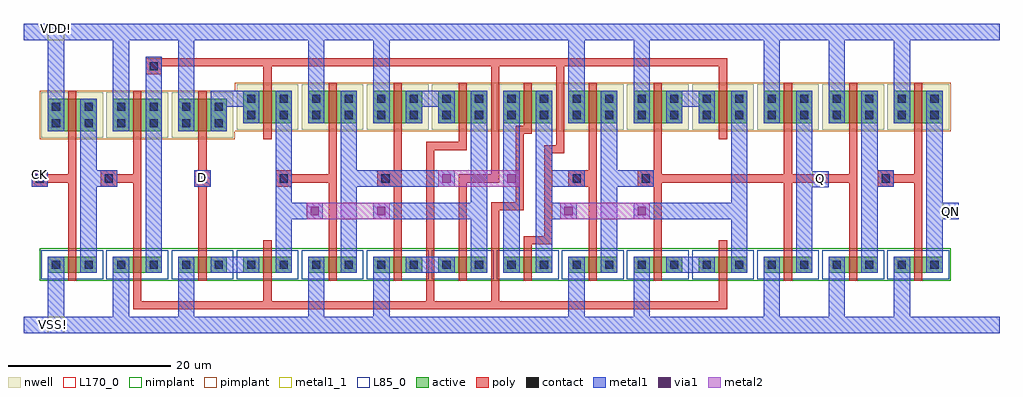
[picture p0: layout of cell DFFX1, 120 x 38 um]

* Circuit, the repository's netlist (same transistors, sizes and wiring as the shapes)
* +++++++++++++++++++++++++++++++++++++++++++++++++++++++++ *
* CDL Netlist:                                              *
*                                                           *
* Cell Name  : DFFX1                                        *
* Netlisted  : Fri Dec 17 07:31:05 2021                     *
* PVS Version: 16.15-s010 Fri Jun 28 22:24:07 PDT 2019      *
* +++++++++++++++++++++++++++++++++++++++++++++++++++++++++ *
*.LDD
*.DEVTMPLT 0 MN(nmos3) _nmos1v _soi_nd(D) poly_conn(G) _soi_nsb(S) _soi_nsb(B)
*.DEVTMPLT 1 MP(pmos3) _pmos1v _soi_pd(D) poly_conn(G) _soi_psb(S) _soi_psb(B)

* +++++++++++++++++++++++++++++++++++++++++++++++++++++++++ *
* Sub cell: nmos3_CDNS_3                                    *
* +++++++++++++++++++++++++++++++++++++++++++++++++++++++++ *
.subckt nmos3_CDNS_3 2 3 4
** N=4 EP=3 FDC=1
M0 2 3 4 4 nmos3 L=1e-06 W=2e-06 AD=5e-12 AS=0 PD=9e-06 PS=0 fw=2e-06 sa=2e-06 sb=2e-06 $X=7000 $Y=2000 $dt=0
.ends nmos3_CDNS_3

* +++++++++++++++++++++++++++++++++++++++++++++++++++++++++ *
* Sub cell: pmos3_CDNS_4                                    *
* +++++++++++++++++++++++++++++++++++++++++++++++++++++++++ *
.subckt pmos3_CDNS_4 2 3 4
** N=5 EP=3 FDC=1
M0 2 4 3 3 pmos3 L=1e-06 W=4e-06 AD=1e-11 AS=0 PD=1.3e-05 PS=0 fw=4e-06 sa=2e-06 sb=2e-06 $X=7000 $Y=2000 $dt=1
.ends pmos3_CDNS_4

* +++++++++++++++++++++++++++++++++++++++++++++++++++++++++ *
* Sub cell: DFFX1                                           *
* +++++++++++++++++++++++++++++++++++++++++++++++++++++++++ *
.subckt DFFX1 CK D Q QN VDD! VSS!
** N=21 EP=6 FDC=28
X15 2 CK VSS! nmos3_CDNS_3 $T=20000 10800 1 180 $X=4000 $Y=10800
X16 3 2 VSS! nmos3_CDNS_3 $T=36000 10800 1 180 $X=20000 $Y=10800
X17 12 D VSS! nmos3_CDNS_3 $T=52000 10800 1 180 $X=36000 $Y=10800
X18 5 2 12 nmos3_CDNS_3 $T=68000 10800 1 180 $X=52000 $Y=10800
X19 6 5 VSS! nmos3_CDNS_3 $T=84000 10800 1 180 $X=68000 $Y=10800
X20 13 6 VSS! nmos3_CDNS_3 $T=100000 10800 1 180 $X=84000 $Y=10800
X21 5 3 13 nmos3_CDNS_3 $T=116000 10800 1 180 $X=100000 $Y=10800
X22 7 3 6 nmos3_CDNS_3 $T=132000 10800 1 180 $X=116000 $Y=10800
X23 8 7 VSS! nmos3_CDNS_3 $T=148000 10800 1 180 $X=132000 $Y=10800
X24 14 8 VSS! nmos3_CDNS_3 $T=164000 10800 1 180 $X=148000 $Y=10800
X25 7 2 14 nmos3_CDNS_3 $T=180000 10800 1 180 $X=164000 $Y=10800
X26 Q 8 VSS! nmos3_CDNS_3 $T=196000 10800 1 180 $X=180000 $Y=10800
X27 9 8 VSS! nmos3_CDNS_3 $T=212000 10800 1 180 $X=196000 $Y=10800
X28 QN 9 VSS! nmos3_CDNS_3 $T=228000 10800 1 180 $X=212000 $Y=10800
X29 2 VDD! CK pmos3_CDNS_4 $T=20000 57600 0 180 $X=4000 $Y=43600
X30 3 VDD! 2 pmos3_CDNS_4 $T=36000 57600 0 180 $X=20000 $Y=43600
X31 18 VDD! D pmos3_CDNS_4 $T=52000 57600 0 180 $X=36000 $Y=43600
X32 5 18 3 pmos3_CDNS_4 $T=68000 59600 0 180 $X=52000 $Y=45600
X33 6 VDD! 5 pmos3_CDNS_4 $T=84000 59600 0 180 $X=68000 $Y=45600
X34 19 VDD! 6 pmos3_CDNS_4 $T=100000 59600 0 180 $X=84000 $Y=45600
X35 5 19 2 pmos3_CDNS_4 $T=116000 59600 0 180 $X=100000 $Y=45600
X36 8 VDD! 7 pmos3_CDNS_4 $T=148000 59600 0 180 $X=132000 $Y=45600
X37 20 VDD! 8 pmos3_CDNS_4 $T=164000 59600 0 180 $X=148000 $Y=45600
X38 7 20 3 pmos3_CDNS_4 $T=180000 59600 0 180 $X=164000 $Y=45600
X39 Q VDD! 8 pmos3_CDNS_4 $T=196000 59600 0 180 $X=180000 $Y=45600
X40 9 VDD! 8 pmos3_CDNS_4 $T=212000 59600 0 180 $X=196000 $Y=45600
X41 QN VDD! 9 pmos3_CDNS_4 $T=228000 59600 0 180 $X=212000 $Y=45600
M0 7 2 6 6 pmos3 L=1e-06 W=4e-06 AD=1e-11 AS=0 PD=1.3e-05 PS=0 fw=4e-06 sa=2e-06 sb=2e-06 $X=123000 $Y=49600 $dt=1
.ends DFFX1

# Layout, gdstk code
from math import pi, radians
import gdstk
lib = gdstk.Library(unit=1e-6, precision=5e-10)
def R(c, l, rs):  # rectangles x0, y0, x1, y1
    for r in rs: c.add(gdstk.rectangle(r[:2], r[2:], *l))
active = (1, 0)
nwell = (2, 0)
poly = (3, 0)
nimplant = (4, 0)
pimplant = (5, 0)
contact = (6, 0)
metal1 = (7, 0)
metal1_1 = (7, 1)
via1 = (8, 0)
metal2 = (9, 0)
L85_0 = (85, 0)
L170_0 = (170, 0)

nmos3_cdns_3 = lib.new_cell('nmos3_CDNS_3')
R(nmos3_cdns_3, active, [(1,1,7,3)])
R(nmos3_cdns_3, poly, [(3.5,0,4.5,5), (3.6,3.5,4.4,3.9)])
R(nmos3_cdns_3, nimplant, [(0,0,8,4)])
R(nmos3_cdns_3, contact, [(1.5,1.5,2.5,2.5), (5.5,1.5,6.5,2.5), (5.5,1.5,6.5,2.5)])
R(nmos3_cdns_3, metal1, [(1,1,3,3), (5,1,7,3), (1.3,1.3,2.7,2.7), (5.3,1.3,6.7,2.7)])
R(nmos3_cdns_3, L85_0, [(0.2,0.2,7.8,3.8)])
R(nmos3_cdns_3, L170_0, [(4.5,1,7,3)])

pmos3_cdns_4 = lib.new_cell('pmos3_CDNS_4')
R(pmos3_cdns_4, active, [(1,1,7,5)])
R(pmos3_cdns_4, nwell, [(0.2,0.2,7.8,5.8)])
R(pmos3_cdns_4, poly, [(3.5,0,4.5,7), (3.6,5.6,4.4,5.9)])
R(pmos3_cdns_4, pimplant, [(0,0,8,6)])
R(pmos3_cdns_4, contact, [(1.5,1.5,2.5,2.5), (5.5,1.5,6.5,2.5), (5.5,1.5,6.5,2.5), (1.5,3.5,2.5,4.5), (5.5,3.5,6.5,4.5)])
R(pmos3_cdns_4, metal1, [(1,1,3,5), (5,1,7,5), (1.3,1.3,2.7,2.7), (5.3,1.3,6.7,2.7)])
R(pmos3_cdns_4, L170_0, [(4.5,1,7,5)])

m1_po_cdns_1 = lib.new_cell('M1_PO_CDNS_1')
R(m1_po_cdns_1, poly, [(-1,-1,1,1)])
R(m1_po_cdns_1, contact, [(-0.5,-0.5,0.5,0.5)])
R(m1_po_cdns_1, metal1, [(-1,-1,1,1)])

m2_m1_cdns_2 = lib.new_cell('M2_M1_CDNS_2')
R(m2_m1_cdns_2, metal1, [(-1,-1,1,1)])
R(m2_m1_cdns_2, via1, [(-0.5,-0.5,0.5,0.5)])
R(m2_m1_cdns_2, metal2, [(-1,-1,1,1)])

dffx1 = lib.new_cell('DFFX1')
R(dffx1, active, [(59,24.8,65,28.8)])
R(dffx1, nwell, [(58.2,24,65.8,29.6)])
R(dffx1, poly, [(68.8,17,69.8,19), (61.5,23.5,62.5,29.8), (61.6,23.9,62.4,24.2)])
R(dffx1, pimplant, [(58,23.8,66,29.8)])
R(dffx1, contact, [(59.5,25.3,60.5,26.3), (63.5,25.3,64.5,26.3), (59.5,27.3,60.5,28.3), (59.5,27.3,60.5,28.3), (63.5,27.3,64.5,28.3)])
R(dffx1, metal1, [(23,6.4,29,8.4), (111,13,115,15), (95,16.9,99,18.9), (1,17,3,19), (21,17,23,19), (59,24.8,61,28.8), (63,24.8,65,28.8), (59.3,27.1,60.7,28.5), (63.3,27.1,64.7,28.5)])
R(dffx1, metal1_1, [(3,-1,5,1), (113,13,115,15), (97,16.9,99,18.9), (1,17,3,19), (21,17,23,19), (3,35,5,37)])
R(dffx1, L170_0, [(59,24.8,61.5,28.8)])
dffx1.add(gdstk.FlexPath([(14,9.9),(14,18)], 1, ends=(0, 0.5), simple_path=True, layer=3, datatype=0))  # poly
dffx1.add(gdstk.FlexPath([(110,24.2),(110,18)], 1, ends=(0, 0.5), simple_path=True, layer=3, datatype=0))  # poly
dffx1.add(gdstk.FlexPath([(110,18),(106,18)], 1, ends=(0.5, 0), simple_path=True, layer=3, datatype=0))  # poly
dffx1.add(gdstk.FlexPath([(110,18),(110,8.8)], 1, ends=(0.5, 0), simple_path=True, layer=3, datatype=0))  # poly
dffx1.add(gdstk.FlexPath([(102,8.9),(102,18)], 1, ends=(0, 0.5), simple_path=True, layer=3, datatype=0))  # poly
dffx1.add(gdstk.FlexPath([(102,18),(94,18)], 1, ends="extended", simple_path=True, layer=3, datatype=0))  # poly
dffx1.add(gdstk.FlexPath([(102,18),(102,24.4)], 1, ends=(0.5, 0), simple_path=True, layer=3, datatype=0))  # poly
dffx1.add(gdstk.FlexPath([(78,8.9),(78,18)], 1, ends=(0, 0.5), simple_path=True, layer=3, datatype=0))  # poly
dffx1.add(gdstk.FlexPath([(94,18),(78,18)], 1, ends="extended", simple_path=True, layer=3, datatype=0))  # poly
dffx1.add(gdstk.FlexPath([(94,18),(94,24.2)], 1, ends=(0.5, 0), simple_path=True, layer=3, datatype=0))  # poly
dffx1.add(gdstk.FlexPath([(94,8.9),(94,18)], 1, ends=(0, 0.5), simple_path=True, layer=3, datatype=0))  # poly
dffx1.add(gdstk.FlexPath([(86,32.3),(86,23.8)], 1, ends=(0.5, 0), simple_path=True, layer=3, datatype=0))  # poly
dffx1.add(gdstk.FlexPath([(86,2.4),(86,9.6)], 1, ends=(0.5, 0), simple_path=True, layer=3, datatype=0))  # poly
dffx1.add(gdstk.FlexPath([(78,18),(78,24.7)], 1, ends=(0.5, 0), simple_path=True, layer=3, datatype=0))  # poly
dffx1.add(gdstk.FlexPath([(64.5,10.4),(61.5,10.4)], 1, ends=(0.5, 0), simple_path=True, layer=3, datatype=0))  # poly
dffx1.add(gdstk.FlexPath([(70,8.9),(70,24.2)], 1, ends="flush", simple_path=True, layer=3, datatype=0))  # poly
dffx1.add(gdstk.FlexPath([(58,32.3),(66,32.3)], 1, ends="extended", simple_path=True, layer=3, datatype=0))  # poly
dffx1.add(gdstk.FlexPath([(64.5,21.6),(64.5,10.4)], 1, ends="extended", simple_path=True, layer=3, datatype=0))  # poly
dffx1.add(gdstk.FlexPath([(66,32),(66,21.6)], 1, ends="extended", simple_path=True, layer=3, datatype=0))  # poly
dffx1.add(gdstk.FlexPath([(66,21.6),(64.5,21.6)], 1, ends="extended", simple_path=True, layer=3, datatype=0))  # poly
dffx1.add(gdstk.FlexPath([(61,14.6),(61,24.5)], 1, ends=(0.5, 0), simple_path=True, layer=3, datatype=0))  # poly
dffx1.add(gdstk.FlexPath([(58,14.6),(61,14.6)], 1, ends="extended", simple_path=True, layer=3, datatype=0))  # poly
dffx1.add(gdstk.FlexPath([(58,2.4),(58,14.6)], 1, ends="extended", simple_path=True, layer=3, datatype=0))  # poly
dffx1.add(gdstk.FlexPath([(58,2.4),(86,2.4)], 1, ends="extended", simple_path=True, layer=3, datatype=0))  # poly
dffx1.add(gdstk.FlexPath([(30,2.4),(50,2.4)], 1, ends="extended", simple_path=True, layer=3, datatype=0))  # poly
dffx1.add(gdstk.FlexPath([(50,22),(50,2.4)], 1, ends="extended", simple_path=True, layer=3, datatype=0))  # poly
dffx1.add(gdstk.FlexPath([(14,18),(10.5,18)], 1, ends=(0.5, 0), simple_path=True, layer=3, datatype=0))  # poly
dffx1.add(gdstk.FlexPath([(54,18),(58,18)], 1, ends="extended", simple_path=True, layer=3, datatype=0))  # poly
dffx1.add(gdstk.FlexPath([(54,8.6),(54,18)], 1, ends=(0, 0.5), simple_path=True, layer=3, datatype=0))  # poly
dffx1.add(gdstk.FlexPath([(58,18),(58,32.5)], 1, ends=(0.5, 0), simple_path=True, layer=3, datatype=0))  # poly
dffx1.add(gdstk.FlexPath([(54,24.6),(54,22)], 1, ends=(0, 0.5), simple_path=True, layer=3, datatype=0))  # poly
dffx1.add(gdstk.FlexPath([(54,22),(50,22)], 1, ends="extended", simple_path=True, layer=3, datatype=0))  # poly
dffx1.add(gdstk.FlexPath([(50,2.4),(58,2.4)], 1, ends="extended", simple_path=True, layer=3, datatype=0))  # poly
dffx1.add(gdstk.FlexPath([(66,32.3),(86,32.3)], 1, ends="extended", simple_path=True, layer=3, datatype=0))  # poly
dffx1.add(gdstk.FlexPath([(30,32.3),(58,32.3)], 1, ends="extended", simple_path=True, layer=3, datatype=0))  # poly
dffx1.add(gdstk.FlexPath([(46,8.9),(46,24.4)], 1, ends="flush", simple_path=True, layer=3, datatype=0))  # poly
dffx1.add(gdstk.FlexPath([(38,18),(32.1,18)], 1, ends=(0.5, 0), simple_path=True, layer=3, datatype=0))  # poly
dffx1.add(gdstk.FlexPath([(38,18),(38,24.5)], 1, ends=(0.5, 0), simple_path=True, layer=3, datatype=0))  # poly
dffx1.add(gdstk.FlexPath([(38,8.9),(38,18)], 1, ends=(0, 0.5), simple_path=True, layer=3, datatype=0))  # poly
dffx1.add(gdstk.FlexPath([(30,23.4),(30,32)], 1, ends=(0, 0.5), simple_path=True, layer=3, datatype=0))  # poly
dffx1.add(gdstk.FlexPath([(30,32.3),(16,32.3)], 1, ends=(0.5, 0), simple_path=True, layer=3, datatype=0))  # poly
dffx1.add(gdstk.FlexPath([(30,2.4),(30,9.6)], 1, ends=(0.5, 0), simple_path=True, layer=3, datatype=0))  # poly
dffx1.add(gdstk.FlexPath([(14,2.4),(30,2.4)], 1, ends="extended", simple_path=True, layer=3, datatype=0))  # poly
dffx1.add(gdstk.FlexPath([(14,9.3),(14,2.4)], 1, ends=(0, 0.5), simple_path=True, layer=3, datatype=0))  # poly
dffx1.add(gdstk.FlexPath([(22,27.2),(22,8.5)], 1, ends="flush", simple_path=True, layer=3, datatype=0))  # poly
dffx1.add(gdstk.FlexPath([(6,18),(2,18)], 1, ends=(0.5, 0), simple_path=True, layer=3, datatype=0))  # poly
dffx1.add(gdstk.FlexPath([(6,18),(6,27.8)], 1, ends=(0.5, 0), simple_path=True, layer=3, datatype=0))  # poly
dffx1.add(gdstk.FlexPath([(14,18),(14,27.9)], 1, ends=(0.5, 0), simple_path=True, layer=3, datatype=0))  # poly
dffx1.add(gdstk.FlexPath([(6,9.3),(6,18)], 1, ends=(0, 0.5), simple_path=True, layer=3, datatype=0))  # poly
dffx1.add(gdstk.FlexPath([(32,27.1),(32,14)], 2, ends=(0, 1), simple_path=True, layer=7, datatype=0))  # metal1
dffx1.add(gdstk.FlexPath([(32,14),(35.8,14)], 2, ends=(1, 0), simple_path=True, layer=7, datatype=0))  # metal1
dffx1.add(gdstk.FlexPath([(64,28.5),(64,14)], 2, ends=(0, 1), simple_path=True, layer=7, datatype=0))  # metal1
dffx1.add(gdstk.FlexPath([(64,14),(68,14)], 2, ends=(1, 0), simple_path=True, layer=7, datatype=0))  # metal1
dffx1.add(gdstk.FlexPath([(88,14),(75,14)], 2, ends=(1, 0), simple_path=True, layer=7, datatype=0))  # metal1
dffx1.add(gdstk.FlexPath([(88,14),(88,6.7)], 2, ends=(1, 0), simple_path=True, layer=7, datatype=0))  # metal1
dffx1.add(gdstk.FlexPath([(56,14),(44,14)], 2, ends=(1, 0), simple_path=True, layer=7, datatype=0))  # metal1
dffx1.add(gdstk.FlexPath([(56,6.7),(56,14)], 2, ends=(0, 1), simple_path=True, layer=7, datatype=0))  # metal1
dffx1.add(gdstk.FlexPath([(112,28.5),(112,6.7)], 2, ends="flush", simple_path=True, layer=7, datatype=0))  # metal1
dffx1.add(gdstk.FlexPath([(100,36),(108,36)], 2, ends="extended", simple_path=True, layer=7, datatype=0))  # metal1
dffx1.add(gdstk.FlexPath([(108,27.1),(108,36)], 2, ends=(0, 1), simple_path=True, layer=7, datatype=0))  # metal1
dffx1.add(gdstk.FlexPath([(120,0),(108,0)], 2, ends=(0, 1), simple_path=True, layer=7, datatype=0))  # metal1
dffx1.add(gdstk.FlexPath([(108,8.1),(108,0)], 2, ends=(0, 1), simple_path=True, layer=7, datatype=0))  # metal1
dffx1.add(gdstk.FlexPath([(104,6.7),(104,28.5)], 2, ends="flush", simple_path=True, layer=7, datatype=0))  # metal1
dffx1.add(gdstk.FlexPath([(108,0),(100,0)], 2, ends="extended", simple_path=True, layer=7, datatype=0))  # metal1
dffx1.add(gdstk.FlexPath([(100,8.1),(100,0)], 2, ends=(0, 1), simple_path=True, layer=7, datatype=0))  # metal1
dffx1.add(gdstk.FlexPath([(92,36),(100,36)], 2, ends="extended", simple_path=True, layer=7, datatype=0))  # metal1
dffx1.add(gdstk.FlexPath([(100,27.1),(100,36)], 2, ends=(0, 1), simple_path=True, layer=7, datatype=0))  # metal1
dffx1.add(gdstk.FlexPath([(96,6.7),(96,28.5)], 2, ends="flush", simple_path=True, layer=7, datatype=0))  # metal1
dffx1.add(gdstk.FlexPath([(88,28.5),(88,14)], 2, ends=(0, 1), simple_path=True, layer=7, datatype=0))  # metal1
dffx1.add(gdstk.FlexPath([(76,36),(92,36)], 2, ends="extended", simple_path=True, layer=7, datatype=0))  # metal1
dffx1.add(gdstk.FlexPath([(92,27.1),(92,36)], 2, ends=(0, 1), simple_path=True, layer=7, datatype=0))  # metal1
dffx1.add(gdstk.FlexPath([(100,0),(92,0)], 2, ends="extended", simple_path=True, layer=7, datatype=0))  # metal1
dffx1.add(gdstk.FlexPath([(92,8.1),(92,0)], 2, ends=(0, 1), simple_path=True, layer=7, datatype=0))  # metal1
dffx1.add(gdstk.FlexPath([(79.3,7.4),(84.7,7.4)], 2, ends="flush", simple_path=True, layer=7, datatype=0))  # metal1
dffx1.add(gdstk.FlexPath([(92,0),(76,0)], 2, ends="extended", simple_path=True, layer=7, datatype=0))  # metal1
dffx1.add(gdstk.FlexPath([(76,8.1),(76,0)], 2, ends=(0, 1), simple_path=True, layer=7, datatype=0))  # metal1
dffx1.add(gdstk.FlexPath([(72,18),(76.5,18)], 2, ends=(1, 0), simple_path=True, layer=7, datatype=0))  # metal1
dffx1.add(gdstk.FlexPath([(72,18),(72,6.5)], 2, ends=(1, 0), simple_path=True, layer=7, datatype=0))  # metal1
dffx1.add(gdstk.FlexPath([(79.3,27.8),(84.7,27.8)], 2, ends="flush", simple_path=True, layer=7, datatype=0))  # metal1
dffx1.add(gdstk.FlexPath([(68,36),(76,36)], 2, ends="extended", simple_path=True, layer=7, datatype=0))  # metal1
dffx1.add(gdstk.FlexPath([(64.5,18),(68,18)], 2, ends=(1, 0), simple_path=True, layer=7, datatype=0))  # metal1
dffx1.add(gdstk.FlexPath([(76,27.1),(76,36)], 2, ends=(0, 1), simple_path=True, layer=7, datatype=0))  # metal1
dffx1.add(gdstk.FlexPath([(72,28.5),(72,18)], 2, ends=(0, 1), simple_path=True, layer=7, datatype=0))  # metal1
dffx1.add(gdstk.FlexPath([(44,36),(68,36)], 2, ends="extended", simple_path=True, layer=7, datatype=0))  # metal1
dffx1.add(gdstk.FlexPath([(68,27.1),(68,36)], 2, ends=(0, 1), simple_path=True, layer=7, datatype=0))  # metal1
dffx1.add(gdstk.FlexPath([(76,0),(68,0)], 2, ends="extended", simple_path=True, layer=7, datatype=0))  # metal1
dffx1.add(gdstk.FlexPath([(68,8.1),(68,0)], 2, ends=(0, 1), simple_path=True, layer=7, datatype=0))  # metal1
dffx1.add(gdstk.FlexPath([(64,14),(64,6.7)], 2, ends=(1, 0), simple_path=True, layer=7, datatype=0))  # metal1
dffx1.add(gdstk.FlexPath([(44.5,18),(53,18)], 2, ends="flush", simple_path=True, layer=7, datatype=0))  # metal1
dffx1.add(gdstk.FlexPath([(60,28.5),(60,6.7)], 2, ends="flush", simple_path=True, layer=7, datatype=0))  # metal1
dffx1.add(gdstk.FlexPath([(56,14),(56,28.5)], 2, ends=(1, 0), simple_path=True, layer=7, datatype=0))  # metal1
dffx1.add(gdstk.FlexPath([(47.3,7.4),(52.7,7.4)], 2, ends="flush", simple_path=True, layer=7, datatype=0))  # metal1
dffx1.add(gdstk.FlexPath([(47.3,27.8),(52.7,27.8)], 2, ends="flush", simple_path=True, layer=7, datatype=0))  # metal1
dffx1.add(gdstk.FlexPath([(40,6.7),(40,18)], 2, ends=(0, 1), simple_path=True, layer=7, datatype=0))  # metal1
dffx1.add(gdstk.FlexPath([(44.5,18),(40,18)], 2, ends=(0, 1), simple_path=True, layer=7, datatype=0))  # metal1
dffx1.add(gdstk.FlexPath([(68,0),(44,0)], 2, ends="extended", simple_path=True, layer=7, datatype=0))  # metal1
dffx1.add(gdstk.FlexPath([(44,8.1),(44,0)], 2, ends=(0, 1), simple_path=True, layer=7, datatype=0))  # metal1
dffx1.add(gdstk.FlexPath([(36,36),(44,36)], 2, ends="extended", simple_path=True, layer=7, datatype=0))  # metal1
dffx1.add(gdstk.FlexPath([(44,27.1),(44,36)], 2, ends=(0, 1), simple_path=True, layer=7, datatype=0))  # metal1
dffx1.add(gdstk.FlexPath([(40,18),(40,27.1)], 2, ends=(1, 0), simple_path=True, layer=7, datatype=0))  # metal1
dffx1.add(gdstk.FlexPath([(44,0),(36,0)], 2, ends="extended", simple_path=True, layer=7, datatype=0))  # metal1
dffx1.add(gdstk.FlexPath([(36,8.1),(36,0)], 2, ends=(0, 1), simple_path=True, layer=7, datatype=0))  # metal1
dffx1.add(gdstk.FlexPath([(20,36),(36,36)], 2, ends="extended", simple_path=True, layer=7, datatype=0))  # metal1
dffx1.add(gdstk.FlexPath([(36,27.1),(36,36)], 2, ends=(0, 1), simple_path=True, layer=7, datatype=0))  # metal1
dffx1.add(gdstk.FlexPath([(32,14),(32,6.7)], 2, ends=(1, 0), simple_path=True, layer=7, datatype=0))  # metal1
dffx1.add(gdstk.FlexPath([(23,27.8),(28.7,27.8)], 2, ends="flush", simple_path=True, layer=7, datatype=0))  # metal1
dffx1.add(gdstk.FlexPath([(108,36),(120,36)], 2, ends=(1, 0), simple_path=True, layer=7, datatype=0))  # metal1
dffx1.add(gdstk.FlexPath([(20,25.7),(20,36)], 2, ends=(0, 1), simple_path=True, layer=7, datatype=0))  # metal1
dffx1.add(gdstk.FlexPath([(20,0),(4,0)], 2, ends="extended", simple_path=True, layer=7, datatype=0))  # metal1
dffx1.add(gdstk.FlexPath([(20,8.1),(20,0)], 2, ends=(0, 1), simple_path=True, layer=7, datatype=0))  # metal1
dffx1.add(gdstk.FlexPath([(8,6.7),(8,18)], 2, ends=(0, 1), simple_path=True, layer=7, datatype=0))  # metal1
dffx1.add(gdstk.FlexPath([(10.7,18),(8,18)], 2, ends=(0, 1), simple_path=True, layer=7, datatype=0))  # metal1
dffx1.add(gdstk.FlexPath([(16,6.7),(16,33)], 2, ends="flush", simple_path=True, layer=7, datatype=0))  # metal1
dffx1.add(gdstk.FlexPath([(12,8.1),(12,0)], 2, ends=(0, 1), simple_path=True, layer=7, datatype=0))  # metal1
dffx1.add(gdstk.FlexPath([(4,36),(12,36)], 2, ends="extended", simple_path=True, layer=7, datatype=0))  # metal1
dffx1.add(gdstk.FlexPath([(12,25.7),(12,36)], 2, ends=(0, 1), simple_path=True, layer=7, datatype=0))  # metal1
dffx1.add(gdstk.FlexPath([(8,18),(8,27.1)], 2, ends=(1, 0), simple_path=True, layer=7, datatype=0))  # metal1
dffx1.add(gdstk.FlexPath([(36,0),(20,0)], 2, ends="extended", simple_path=True, layer=7, datatype=0))  # metal1
dffx1.add(gdstk.FlexPath([(4,8.1),(4,0)], 2, ends=(0, 1), simple_path=True, layer=7, datatype=0))  # metal1
dffx1.add(gdstk.FlexPath([(0,36),(4,36)], 2, ends=(0, 1), simple_path=True, layer=7, datatype=0))  # metal1
dffx1.add(gdstk.FlexPath([(4,25.7),(4,36)], 2, ends=(0, 1), simple_path=True, layer=7, datatype=0))  # metal1
dffx1.add(gdstk.FlexPath([(4,0),(0,0)], 2, ends=(1, 0), simple_path=True, layer=7, datatype=0))  # metal1
dffx1.add(gdstk.FlexPath([(12,36),(20,36)], 2, ends="extended", simple_path=True, layer=7, datatype=0))  # metal1
dffx1.add(gdstk.FlexPath([(76,14),(67.3,14)], 2, ends="flush", simple_path=True, layer=9, datatype=0))  # metal2
dffx1.add(gdstk.FlexPath([(43.9,14),(35.1,14)], 2, ends="flush", simple_path=True, layer=9, datatype=0))  # metal2
dffx1.add(gdstk.FlexPath([(52,18),(60,18)], 2, ends="flush", simple_path=True, layer=9, datatype=0))  # metal2
dffx1.add(gdstk.Reference(nmos3_cdns_3, (114,5.4), rotation=pi, x_reflection=True))
dffx1.add(gdstk.Reference(nmos3_cdns_3, (106,5.4), rotation=pi, x_reflection=True))
dffx1.add(gdstk.Reference(nmos3_cdns_3, (98,5.4), rotation=pi, x_reflection=True))
dffx1.add(gdstk.Reference(nmos3_cdns_3, (90,5.4), rotation=pi, x_reflection=True))
dffx1.add(gdstk.Reference(nmos3_cdns_3, (82,5.4), rotation=pi, x_reflection=True))
dffx1.add(gdstk.Reference(nmos3_cdns_3, (74,5.4), rotation=pi, x_reflection=True))
dffx1.add(gdstk.Reference(nmos3_cdns_3, (66,5.4), rotation=pi, x_reflection=True))
dffx1.add(gdstk.Reference(nmos3_cdns_3, (58,5.4), rotation=pi, x_reflection=True))
dffx1.add(gdstk.Reference(nmos3_cdns_3, (50,5.4), rotation=pi, x_reflection=True))
dffx1.add(gdstk.Reference(nmos3_cdns_3, (42,5.4), rotation=pi, x_reflection=True))
dffx1.add(gdstk.Reference(nmos3_cdns_3, (34,5.4), rotation=pi, x_reflection=True))
dffx1.add(gdstk.Reference(nmos3_cdns_3, (26,5.4), rotation=pi, x_reflection=True))
dffx1.add(gdstk.Reference(nmos3_cdns_3, (18,5.4), rotation=pi, x_reflection=True))
dffx1.add(gdstk.Reference(nmos3_cdns_3, (10,5.4), rotation=pi, x_reflection=True))
dffx1.add(gdstk.Reference(pmos3_cdns_4, (114,29.8), rotation=pi))
dffx1.add(gdstk.Reference(pmos3_cdns_4, (106,29.8), rotation=pi))
dffx1.add(gdstk.Reference(pmos3_cdns_4, (98,29.8), rotation=pi))
dffx1.add(gdstk.Reference(pmos3_cdns_4, (90,29.8), rotation=pi))
dffx1.add(gdstk.Reference(pmos3_cdns_4, (82,29.8), rotation=pi))
dffx1.add(gdstk.Reference(pmos3_cdns_4, (74,29.8), rotation=pi))
dffx1.add(gdstk.Reference(pmos3_cdns_4, (58,29.8), rotation=pi))
dffx1.add(gdstk.Reference(pmos3_cdns_4, (50,29.8), rotation=pi))
dffx1.add(gdstk.Reference(pmos3_cdns_4, (42,29.8), rotation=pi))
dffx1.add(gdstk.Reference(pmos3_cdns_4, (34,29.8), rotation=pi))
dffx1.add(gdstk.Reference(pmos3_cdns_4, (26,28.8), rotation=pi))
dffx1.add(gdstk.Reference(pmos3_cdns_4, (18,28.8), rotation=pi))
dffx1.add(gdstk.Reference(pmos3_cdns_4, (10,28.8), rotation=pi))
dffx1.add(gdstk.Reference(m1_po_cdns_1, (106,18)))
dffx1.add(gdstk.Reference(m1_po_cdns_1, (76.5,18)))
dffx1.add(gdstk.Reference(m1_po_cdns_1, (68,18)))
dffx1.add(gdstk.Reference(m1_po_cdns_1, (44.5,18)))
dffx1.add(gdstk.Reference(m1_po_cdns_1, (32,18)))
dffx1.add(gdstk.Reference(m1_po_cdns_1, (16,31.8)))
dffx1.add(gdstk.Reference(m1_po_cdns_1, (22,18)))
dffx1.add(gdstk.Reference(m1_po_cdns_1, (10.5,18)))
dffx1.add(gdstk.Reference(m1_po_cdns_1, (2,18)))
dffx1.add(gdstk.Reference(m2_m1_cdns_2, (67,14)))
dffx1.add(gdstk.Reference(m2_m1_cdns_2, (76,14)))
dffx1.add(gdstk.Reference(m2_m1_cdns_2, (35.8,14)))
dffx1.add(gdstk.Reference(m2_m1_cdns_2, (44,14)))
dffx1.add(gdstk.Reference(m2_m1_cdns_2, (60,18)))
dffx1.add(gdstk.Reference(m2_m1_cdns_2, (52,18)))
dffx1.add(gdstk.Label('QN', (114,14), layer=7, texttype=0))
dffx1.add(gdstk.Label('VSS!', (3.7,0), layer=7, texttype=3))
dffx1.add(gdstk.Label('QN', (114.1,13.5), layer=7, texttype=3))
dffx1.add(gdstk.Label('Q', (98,18), layer=7, texttype=3))
dffx1.add(gdstk.Label('D', (22,18.1), layer=7, texttype=3))
dffx1.add(gdstk.Label('CK', (2,18.5), layer=7, texttype=3))
dffx1.add(gdstk.Label('VDD!', (4,36.5), layer=7, texttype=3))

lib.write_gds('DFFX1.gds')
